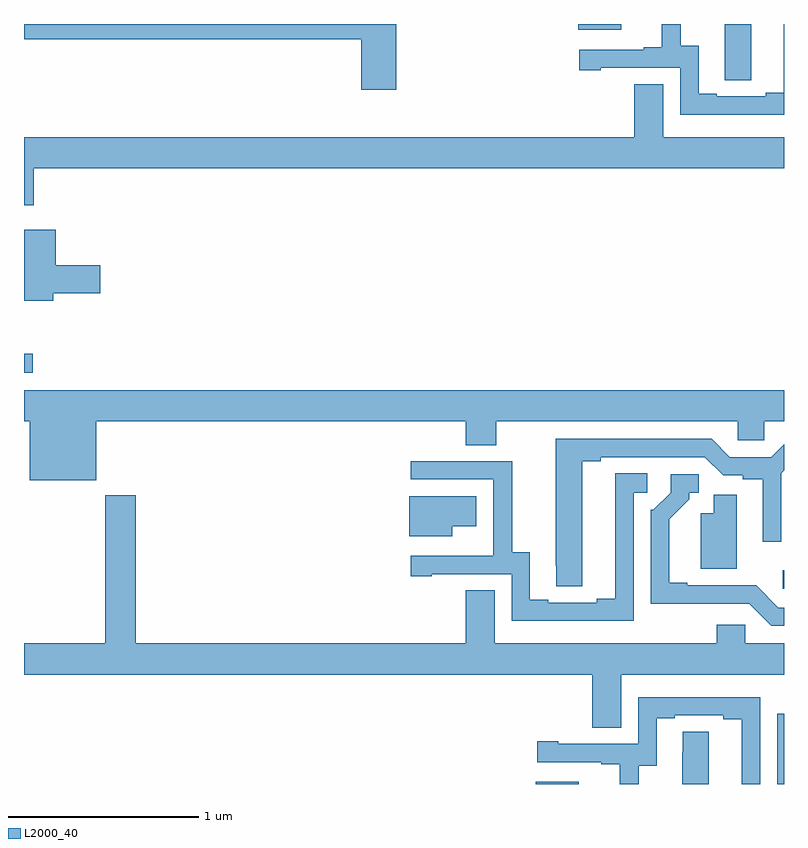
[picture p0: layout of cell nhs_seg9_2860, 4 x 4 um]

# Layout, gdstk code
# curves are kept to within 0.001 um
import gdstk
lib = gdstk.Library(unit=1e-6, precision=1e-09)
def R(c, l, rs):  # rectangles x0, y0, x1, y1
    for r in rs: c.add(gdstk.rectangle(r[:2], r[2:], *l))
def P(c, l, *ps):  # polygons
    for p in ps: c.add(gdstk.Polygon(p, *l))
L2000_40 = (2000, 40)

nhs_seg9_2860 = lib.new_cell('nhs_seg9_2860')
R(nhs_seg9_2860, L2000_40, [(277.694,1206.5,277.921,1206.511), (278.964,1206.5,279,1206.869), (278.994,1207.527,279,1207.624), (275,1208.664,275.047,1208.765), (277.916,1210.469,278.143,1210.5)])
P(nhs_seg9_2860, L2000_40, [(278.827,1210.5),(278.687,1210.5),(278.687,1210.312),(278.688,1210.312),(278.688,1210.204),(278.827,1210.204)],
  [(279,1210.5),(278.999,1210.5),(278.999,1210.139),(278.903,1210.139),(278.903,1210.119),(278.647,1210.119),(278.647,1210.134),(278.551,1210.134),(278.551,1210.385),(278.457,1210.385),(278.457,1210.5),(278.357,1210.5),(278.357,1210.378),(278.261,1210.378),(278.261,1210.365),(277.923,1210.365),(277.923,1210.257),(278.035,1210.257),(278.035,1210.269),(278.454,1210.269),(278.454,1210.023),(279,1210.023)],
  [(276.959,1210.5),(275,1210.5),(275,1210.42),(276.776,1210.42),(276.776,1210.155),(276.959,1210.155)],
  [(275.051,1209.74),(279,1209.74),(279,1209.904),(278.365,1209.904),(278.365,1210.184),(278.213,1210.184),(278.213,1209.904),(275,1209.904),(275,1209.546),(275.051,1209.546)],
  [(275.155,1209.083),(275.401,1209.083),(275.401,1209.23),(275.168,1209.23),(275.168,1209.418),(275,1209.418),(275,1209.044),(275.155,1209.044)],
  [(275.38,1208.408),(277.325,1208.408),(277.325,1208.284),(277.485,1208.284),(277.485,1208.408),(278.757,1208.408),(278.757,1208.31),(278.895,1208.31),(278.895,1208.408),(279,1208.408),(279,1208.572),(275,1208.572),(275,1208.408),(275.03,1208.408),(275.03,1208.099),(275.38,1208.099)],
  [(277.939,1208.2),(278.035,1208.2),(278.035,1208.22),(278.583,1208.22),(278.679,1208.124),(278.784,1208.124),(278.784,1208.104),(278.888,1208.104),(278.888,1207.776),(278.985,1207.776),(278.985,1208.136),(279,1208.151),(279,1208.287),(278.933,1208.22),(278.715,1208.22),(278.619,1208.316),(277.799,1208.316),(277.8,1207.54),(277.939,1207.54)],
  [(278.208,1208.034),(278.281,1208.034),(278.281,1208.135),(278.111,1208.135),(278.111,1207.475),(278.015,1207.475),(278.015,1207.455),(277.759,1207.455),(277.759,1207.47),(277.663,1207.47),(277.663,1207.721),(277.569,1207.721),(277.569,1208.199),(277.035,1208.199),(277.035,1208.103),(277.47,1208.103),(277.47,1207.702),(277.469,1207.702),(277.469,1207.701),(277.035,1207.701),(277.035,1207.593),(277.147,1207.593),(277.147,1207.605),(277.566,1207.605),(277.566,1207.359),(278.208,1207.359)],
  [(279,1207.428),(278.97,1207.428),(278.853,1207.545),(278.491,1207.545),(278.491,1207.558),(278.395,1207.558),(278.395,1207.894),(278.5,1207.999),(278.5,1208.034),(278.55,1208.034),(278.55,1208.13),(278.403,1208.13),(278.403,1208.034),(278.313,1207.944),(278.298,1207.944),(278.298,1207.448),(278.817,1207.449),(278.934,1207.332),(279,1207.332)],
  [(278.752,1208.022),(278.63,1208.022),(278.63,1207.924),(278.561,1207.924),(278.561,1207.634),(278.752,1207.634)],
  [(278.143,1207.076),(279,1207.076),(279,1207.24),(278.796,1207.24),(278.796,1207.338),(278.645,1207.338),(278.645,1207.24),(277.477,1207.24),(277.477,1207.52),(277.325,1207.52),(277.325,1207.24),(275.588,1207.24),(275.588,1208.02),(275.428,1208.02),(275.428,1207.24),(275,1207.24),(275,1207.076),(277.991,1207.076),(277.991,1206.796),(278.143,1206.796)],
  [(277.255,1207.856),(277.381,1207.856),(277.381,1208.014),(277.028,1208.014),(277.028,1207.805),(277.255,1207.805)],
  [(278.235,1206.595),(278.329,1206.595),(278.329,1206.846),(278.425,1206.846),(278.425,1206.861),(278.681,1206.861),(278.681,1206.841),(278.777,1206.841),(278.777,1206.5),(278.874,1206.5),(278.874,1206.957),(278.232,1206.957),(278.232,1206.711),(277.813,1206.711),(277.813,1206.724),(277.701,1206.724),(277.701,1206.615),(278.039,1206.615),(278.039,1206.603),(278.135,1206.603),(278.135,1206.5),(278.235,1206.5)],
  [(278.605,1206.776),(278.466,1206.776),(278.466,1206.668),(278.465,1206.668),(278.465,1206.5),(278.605,1206.5)])

lib.write_gds('nhs_seg9_2860.gds')
